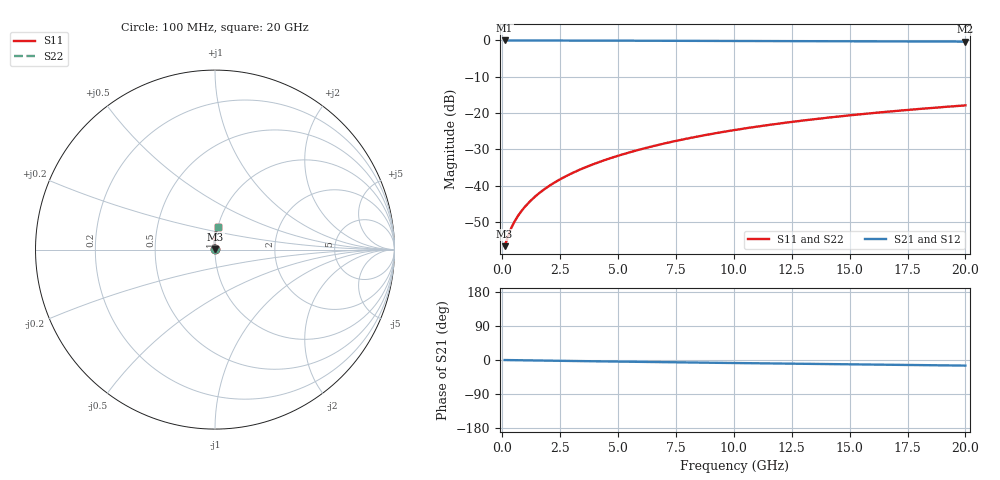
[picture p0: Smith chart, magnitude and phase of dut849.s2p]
! Touchstone file exported from HFSS 2024.1.0
!  File:  C:/UserFiles/LocalFiles/RDL_TSV_Batchsim/temp_RDL_top_849_1779855609.aedt
!  Generated:  12:22:19 PM May 27, 2026
!  Design:  RDL_top
!  Project:  temp_RDL_top_849_1779855609
!  Setup:  Setup1
!  Solution:  Sweep
! Variables:
!  dtsv = 10.80580581um
!  hbump = 3um
!  htsv = 99.96um
!  ldown = 100um
!  lrdl = 212.47um
!  p = 40
!  p1 = 41.5um
!  rhole = 1um
!  t = 450um
!  tdown = 3.915915916um
!  trdl = 2.8um
!  wdown = 15.38538539um
!  wrdl = 26.17um
# GHz S MA R 50.000000
! Terminal data exported
! Port[1] = Box2_T1
! Port[2] = Box2_T2
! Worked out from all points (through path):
!   200 points, 100 MHz to 20 GHz, reference 50 ohm
!   highest |S21| = -0.01 dB at 100 MHz (marker M1); lowest = -0.3 dB at 20 GHz (marker M2)
!   group delay of S21, straight-line fit = 2.03 ps
!   lowest |S11| = -56.7 dB at 100 MHz (marker M3), VSWR 1.00, Z = 50.1 + j0.0592 ohm
!   |S11| at or under -10 dB: start of sweep to end of sweep
!   |S22| runs from -56.7 to -17.9 dB; largest |S21 - S12| = 5.1e-15
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0.1  0.00147 23.7  0.9986 -0.1  0.9986 -0.1  0.00147 23.7
! Gamma 0 0 0 0
! Port Impedance 50 0 50 0
0.3  0.002236 48.6  0.9985 -0.3  0.9985 -0.3  0.002236 48.6
0.4  0.002662 54.6  0.9984 -0.4  0.9984 -0.4  0.002662 54.6
0.5  0.003086 58.9  0.9983 -0.4  0.9983 -0.4  0.003086 58.9
0.6  0.003508 62.4  0.9982 -0.5  0.9982 -0.5  0.003508 62.4
0.8  0.004355 67.7  0.9981 -0.7  0.9981 -0.7  0.004355 67.7
1  0.005218 71.7  0.9979 -0.9  0.9979 -0.9  0.005218 71.7
1.2  0.006102 74.8  0.9978 -1.0  0.9978 -1.0  0.006102 74.8
1.7  0.008391 80.2  0.9974 -1.5  0.9974 -1.5  0.008391 80.2
2.2  0.01078 83.7  0.9968 -1.9  0.9968 -1.9  0.01078 83.7
2.8  0.01377 86.6  0.996 -2.4  0.996 -2.4  0.01377 86.6
3.5  0.01742 88.9  0.995 -3.0  0.995 -3.0  0.01742 88.9
4.2  0.02124 90.5  0.9937 -3.6  0.9937 -3.6  0.02124 90.5
5  0.02583 91.7  0.9922 -4.2  0.9922 -4.2  0.02583 91.7
5.9  0.03123 92.5  0.9903 -4.9  0.9903 -4.9  0.03123 92.5
6.8  0.03685 92.9  0.9883 -5.6  0.9883 -5.6  0.03686 92.9
8.4  0.04731 92.7  0.9848 -6.8  0.9848 -6.8  0.04731 92.7
10.1  0.05884 91.9  0.9811 -8.0  0.9811 -8.0  0.05884 91.9
11.7  0.06991 90.8  0.9778 -9.2  0.9778 -9.2  0.06992 90.8
13.4  0.08179 89.4  0.9745 -10.3  0.9745 -10.3  0.08179 89.4
16.7  0.1048 86.4  0.9685 -12.6  0.9685 -12.6  0.1048 86.4
20  0.1275 83.4  0.9628 -14.8  0.9628 -14.8  0.1275 83.4
